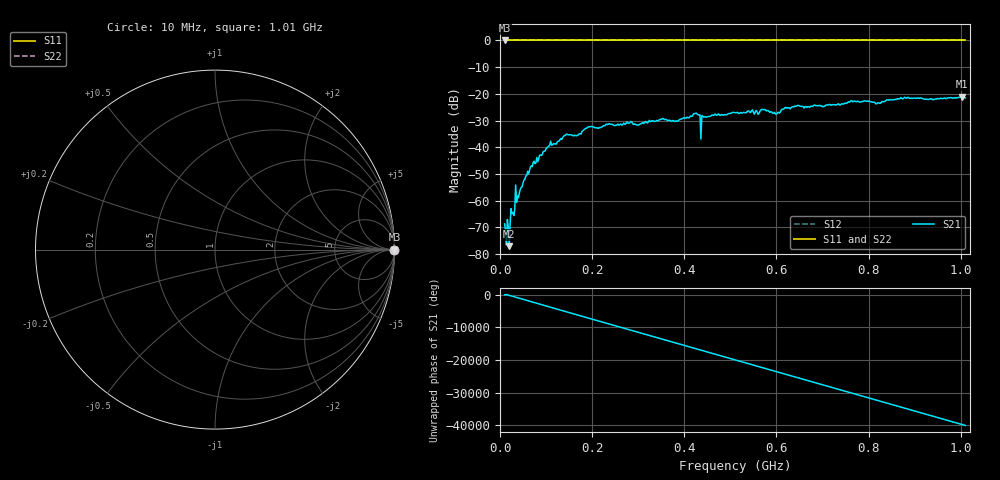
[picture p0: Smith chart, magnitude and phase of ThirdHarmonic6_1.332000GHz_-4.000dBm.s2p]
! 8/16/2025 2:53:30 PM
! C:\ANRITSUVNA\TEMP\TEMP.S2P
! CHANNEL.1
! TR.MEASUREMENT
! RAW.DATA
! RF.CORRECTION.OFF
! AVERAGING.OFF
! IF.BANDWIDTH: 5KHZ
! SWEEPTYPE:  FREQ.SWEEP(Linear)
! Reference Plane Port Info
! PORT:  PORT1  PORT2
! DISTANCE:  0  m  0  m
! TIME:  0  s  0  s
! PHASE.OFFSET:  0  deg.  0  deg.
! LOSS:  0  dB  0  dB
! REF.LOSS:  0  dB  0  dB
! REF.FREQ:  0  Hz  0  Hz
! Power Info
! POWER:  -20  dBm  -20  dBm
! EFF.POWER:  -20  dBm  -20  dBm
! SOURCE.ATTEN:  0  dB  0  dB
! TEST.ATTEN:  0  dB  0  dB
# GHZ S RI R 50.0
! FREQ.GHZ  S11RE  S11IM  S21RE  S21IM  S12RE  S12IM  S22RE  S22IM
!; PortSelection: Port_12
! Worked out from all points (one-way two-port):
!   501 points, 10 MHz to 1.01 GHz, reference 50 ohm
!   highest |S21| = -21.04 dB at 1.002 GHz (marker M1); lowest = -77.1 dB at 20 MHz (marker M2)
!   lowest |S11| = 0.0 dB at 10 MHz (marker M3)
!   |S11| at or under -10 dB: nowhere
!   |S22| runs from 0.0 to 0.0 dB; largest |S21 - S12| = 1.1
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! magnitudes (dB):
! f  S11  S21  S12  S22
! 10 MHz  0.0  -68.7  0.0  0.0
! 16 MHz  0.0  -67.1  0.0  0.0
! 20 MHz  0.0  -77.1  0.0  0.0
! 38 MHz  0.0  -58.3  0.0  0.0
! 70 MHz  0.0  -47.3  0.0  0.0
! 106 MHz  0.0  -39.6  0.0  0.0
! 142 MHz  0.0  -35.5  0.0  0.0
! 178 MHz  0.0  -34.1  0.0  0.0
! 196 MHz  0.0  -32.3  0.0  0.0
! 344 MHz  0.0  -30.1  0.0  0.0
! 382 MHz  0.0  -30.1  0.0  0.0
! 424 MHz  0.0  -27.4  0.0  0.0
! 440 MHz  0.0  -28.4  0.0  0.0
! 442 MHz  0.0  -28.7  0.0  0.0
! 510 MHz  0.0  -27.1  0.0  0.0
! 572 MHz  0.0  -25.9  0.0  0.0
! 602 MHz  0.0  -27.2  0.0  0.0
! 622 MHz  0.0  -25.4  0.0  0.0
! 678 MHz  0.0  -24.7  0.0  0.0
! 844 MHz  0.0  -22.3  0.0  0.0
! 1.002 GHz  0.0  -21.0  0.0  0.0
! 1.01 GHz  0.0  -21.5  0.0  0.0
